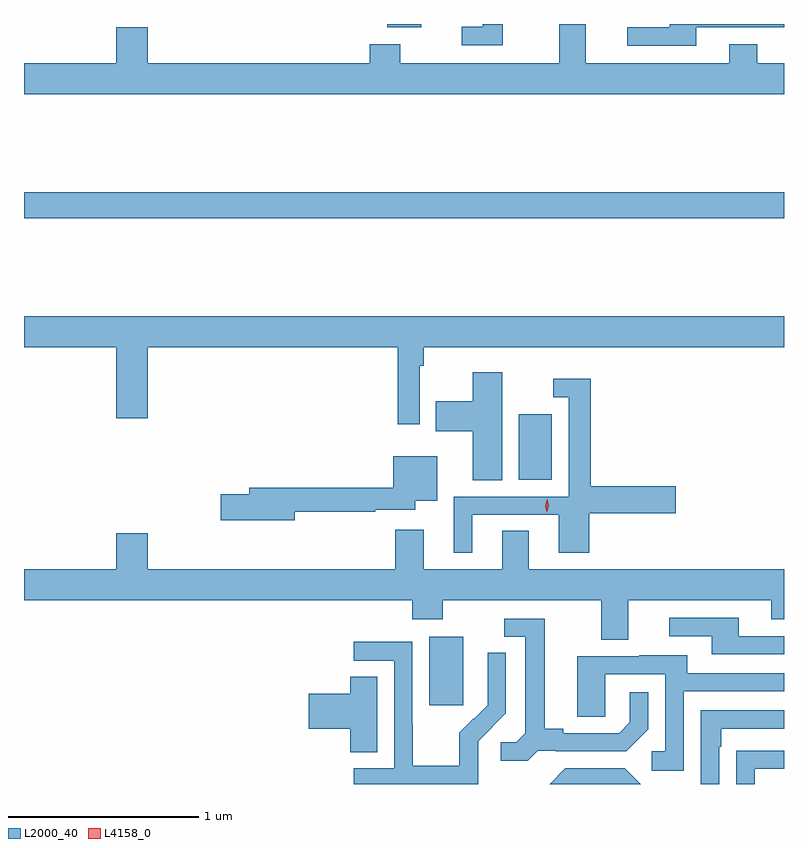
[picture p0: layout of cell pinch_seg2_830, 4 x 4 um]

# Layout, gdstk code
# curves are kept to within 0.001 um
import gdstk
lib = gdstk.Library(unit=1e-6, precision=1e-09)
def R(c, l, rs):  # rectangles x0, y0, x1, y1
    for r in rs: c.add(gdstk.rectangle(r[:2], r[2:], *l))
def P(c, l, *ps):  # polygons
    for p in ps: c.add(gdstk.Polygon(p, *l))
L2000_40 = (2000, 40)
L4158_0 = (4158, 0)

pinch_seg2_830 = lib.new_cell('pinch_seg2_830')
R(pinch_seg2_830, L2000_40, [(825.995,621.777,826.174,622.138), (826.466,622.964,826.639,623.308), (823.862,624.34,827.862,624.476), (825.773,625.346,825.952,625.362)])
P(pinch_seg2_830, L2000_40, [(827.862,625.156),(827.721,625.156),(827.721,625.255),(827.573,625.255),(827.573,625.156),(826.819,625.156),(826.819,625.362),(826.679,625.362),(826.679,625.156),(825.843,625.156),(825.843,625.255),(825.683,625.255),(825.683,625.156),(824.512,625.156),(824.512,625.345),(824.348,625.345),(824.348,625.156),(823.862,625.156),(823.862,624.992),(827.862,624.992)],
  [(827.401,625.344),(827.862,625.344),(827.862,625.362),(827.261,625.362),(827.261,625.344),(827.037,625.344),(827.037,625.248),(827.401,625.248)],
  [(826.381,625.362),(826.277,625.362),(826.277,625.347),(826.167,625.347),(826.167,625.251),(826.381,625.251)],
  [(825.945,623.564),(825.965,623.564),(825.965,623.66),(827.862,623.66),(827.862,623.824),(823.862,623.824),(823.862,623.66),(824.348,623.66),(824.348,623.286),(824.512,623.286),(824.512,623.66),(825.829,623.66),(825.829,623.256),(825.945,623.256)],
  [(826.378,623.53),(826.223,623.53),(826.223,623.377),(826.03,623.377),(826.03,623.219),(826.223,623.219),(826.223,622.96),(826.378,622.96)],
  [(826.222,622.779),(826.676,622.779),(826.676,622.578),(826.838,622.578),(826.838,622.786),(827.293,622.786),(827.293,622.928),(826.844,622.928),(826.844,623.494),(826.647,623.494),(826.647,623.397),(826.728,623.397),(826.728,622.875),(826.124,622.875),(826.124,622.578),(826.222,622.578)],
  [(825.286,622.794),(825.71,622.794),(825.71,622.806),(825.922,622.806),(825.922,622.853),(826.036,622.853),(826.036,623.086),(825.806,623.086),(825.806,622.922),(825.047,622.922),(825.047,622.886),(824.898,622.886),(824.898,622.751),(825.286,622.751)],
  [(826.901,622.12),(827.041,622.12),(827.041,622.328),(827.795,622.328),(827.795,622.229),(827.862,622.229),(827.862,622.492),(826.519,622.492),(826.519,622.694),(826.379,622.694),(826.379,622.492),(825.967,622.492),(825.967,622.699),(825.815,622.699),(825.815,622.492),(824.512,622.492),(824.512,622.681),(824.348,622.681),(824.348,622.492),(823.862,622.492),(823.862,622.328),(825.905,622.328),(825.905,622.229),(826.065,622.229),(826.065,622.328),(826.901,622.328)],
  [(827.862,622.14),(827.623,622.14),(827.623,622.236),(827.259,622.236),(827.259,622.14),(827.483,622.14),(827.483,622.044),(827.862,622.044)],
  [(826.566,621.537),(826.66,621.537),(826.66,621.534),(827.032,621.534),(827.148,621.65),(827.148,621.844),(827.051,621.844),(827.051,621.687),(826.994,621.63),(826.699,621.63),(826.699,621.653),(826.603,621.653),(826.603,622.233),(826.389,622.233),(826.389,622.137),(826.499,622.137),(826.499,621.629),(826.452,621.582),(826.371,621.582),(826.371,621.485),(826.514,621.485)],
  [(826.254,621.489),(826.252,621.489),(826.252,621.586),(826.398,621.734),(826.398,622.052),(826.302,622.052),(826.302,621.898),(826.304,621.898),(826.304,621.776),(826.233,621.705),(826.23,621.708),(826.153,621.631),(826.153,621.457),(825.909,621.457),(825.909,621.68),(825.906,621.68),(825.906,622.11),(825.597,622.11),(825.597,622.011),(825.81,622.011),(825.81,621.444),(825.597,621.444),(825.597,621.362),(826.254,621.362)],
  [(827.334,621.849),(827.862,621.849),(827.862,621.945),(827.353,621.945),(827.353,622.039),(827.099,622.039),(827.099,622.035),(826.775,622.035),(826.775,621.715),(826.92,621.715),(826.92,621.939),(827.238,621.939),(827.238,621.534),(827.166,621.534),(827.166,621.433),(827.334,621.433)],
  [(825.721,621.926),(825.578,621.926),(825.578,621.836),(825.36,621.836),(825.36,621.653),(825.578,621.653),(825.578,621.529),(825.721,621.529)],
  [(827.52,621.557),(827.533,621.557),(827.533,621.654),(827.862,621.654),(827.862,621.75),(827.424,621.75),(827.424,621.362),(827.52,621.362)],
  [(827.707,621.441),(827.862,621.441),(827.862,621.537),(827.713,621.537),(827.713,621.536),(827.611,621.536),(827.611,621.362),(827.707,621.362)],
  [(827.025,621.444),(826.71,621.444),(826.628,621.362),(827.107,621.362)])
P(pinch_seg2_830, L4158_0, [(826.613,622.791),(826.613,622.791),(826.605,622.827),(826.616,622.862),(826.616,622.863),(826.616,622.862),(826.625,622.826),(826.613,622.791)])

lib.write_gds('pinch_seg2_830.gds')
